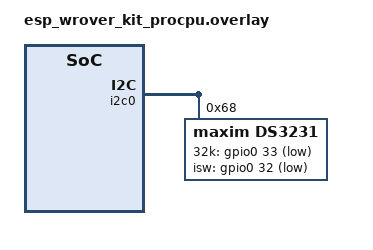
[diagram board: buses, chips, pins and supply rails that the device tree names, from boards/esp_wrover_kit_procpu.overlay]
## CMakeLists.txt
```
# SPDX-License-Identifier: Apache-2.0

cmake_minimum_required(VERSION 3.20.0)
find_package(Zephyr REQUIRED HINTS $ENV{ZEPHYR_BASE})
project(read_time)

target_sources(app PRIVATE src/main.c)
```

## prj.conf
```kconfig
CONFIG_RTC=y

# Enable SHELL
CONFIG_SHELL=y
CONFIG_I2C_SHELL=y
CONFIG_RTC_SHELL=y

# Enable Log
CONFIG_LOG=y
```

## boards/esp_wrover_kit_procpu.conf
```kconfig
CONFIG_I2C=y
CONFIG_RTC_DS3231=y
```

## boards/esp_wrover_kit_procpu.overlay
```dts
&i2c0 {
	status = "okay";
	ds3231: ds3231@68 {
		compatible = "maxim,ds3231";
		reg = <0x68>;

		32k-gpios = <&gpio0 33 (GPIO_PULL_UP | GPIO_ACTIVE_LOW)>;
		isw-gpios = <&gpio0 32 (GPIO_PULL_UP | GPIO_ACTIVE_LOW)>;
	};
};

/ {
	chosen {
		zephyr,rtc = &ds3231;
	};
};
```

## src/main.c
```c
/*
 * Copyright (c) 2024, Muhammad Waleed Badar <walid.badar@gmail.com>
 * Modified by Gergo Vari
 *
 * SPDX-License-Identifier: Apache-2.0
 */

#include <zephyr/kernel.h>
#include <zephyr/device.h>
#include <zephyr/drivers/rtc.h>
#include <zephyr/sys/util.h>
#include <stdio.h>

/* Get the device structure for the RTC */
static const struct device *dev = DEVICE_DT_GET(DT_CHOSEN(zephyr_rtc));

static int32_t get_date_time()
{
	int32_t ret = 0;
	struct rtc_time tm;

	ret = rtc_get_time(dev, &tm);
	if (ret < 0) {
		printk("Cannot read date time: %d\n", ret);
		return ret;
	}

	printk("Current RTC time: %04d-%02d-%02d %02d:%02d:%02d\n",
		tm.tm_year + 1900, tm.tm_mon + 1, tm.tm_mday,
		tm.tm_hour, tm.tm_min, tm.tm_sec);

	return ret;
}

int main(void) {
	int32_t ret = 0;

	/* Check if the RTC is available */
	if (dev == NULL) {
		printk("Error: no device found\n");
		return 0;
	}

	/* Check if the RTC is ready */
	if (!device_is_ready(dev)) {
		printk("Device is not ready\n");
		return 0;
	}

	/* Continuously read the current time from the RTC */
	while (1) {
		ret = get_date_time(dev);
		if (ret < 0) {
			printk("Failed to read from rtc\n");
			return 0;
		}
		k_sleep(K_MSEC(1000));  // Sleep for 1 second
	}
	
	return 0;
}
```
